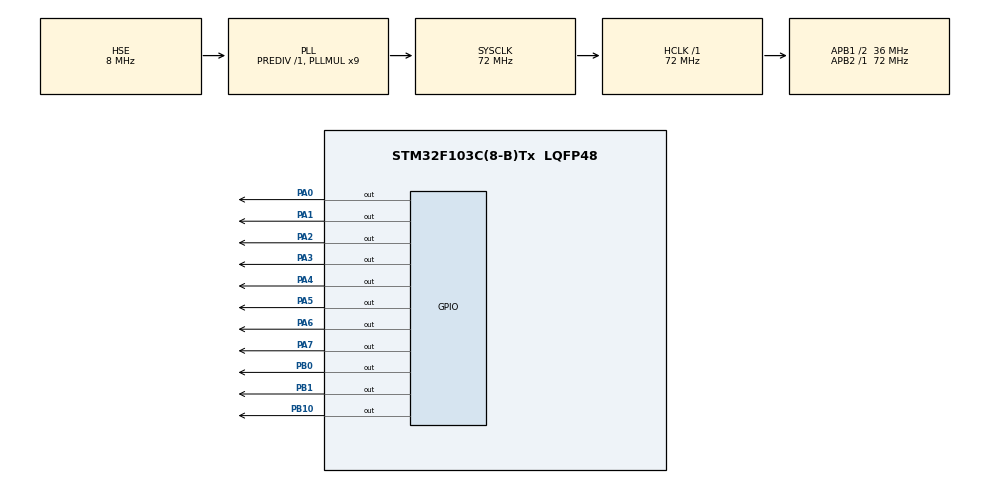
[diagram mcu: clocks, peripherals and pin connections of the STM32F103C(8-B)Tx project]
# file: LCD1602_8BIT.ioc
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Mcu.Family=STM32F1
Mcu.Name=STM32F103C(8-B)Tx
Mcu.Package=LQFP48
NVIC.PriorityGroup=NVIC_PRIORITYGROUP_4
PA0-WKUP.Signal=GPIO_Output
PA1.Signal=GPIO_Output
PA13.Mode=Serial_Wire
PA13.Signal=SYS_JTMS-SWDIO
PA14.Mode=Serial_Wire
PA14.Signal=SYS_JTCK-SWCLK
PA2.Signal=GPIO_Output
PA3.Signal=GPIO_Output
PA4.Signal=GPIO_Output
PA5.Signal=GPIO_Output
PA6.Signal=GPIO_Output
PA7.Signal=GPIO_Output
PB0.Signal=GPIO_Output
PB1.Signal=GPIO_Output
PB10.Signal=GPIO_Output
PD0-OSC_IN.Mode=HSE-External-Oscillator
PD0-OSC_IN.Signal=RCC_OSC_IN
PD1-OSC_OUT.Mode=HSE-External-Oscillator
PD1-OSC_OUT.Signal=RCC_OSC_OUT
ProjectManager.HeapSize=0x200
ProjectManager.StackSize=0x400
ProjectManager.TargetToolchain=MDK-ARM V5.32
RCC.AHBFreq_Value=72000000
RCC.APB1CLKDivider=RCC_HCLK_DIV2
RCC.APB1Freq_Value=36000000
RCC.APB1TimFreq_Value=72000000
RCC.APB2Freq_Value=72000000
RCC.APB2TimFreq_Value=72000000
RCC.HCLKFreq_Value=72000000
RCC.PLLMUL=RCC_PLL_MUL9
RCC.PLLSourceVirtual=RCC_PLLSOURCE_HSE
RCC.SYSCLKFreq_VALUE=72000000
RCC.SYSCLKSource=RCC_SYSCLKSOURCE_PLLCLK
RCC.USBFreq_Value=72000000
board=custom

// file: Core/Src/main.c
/* USER CODE BEGIN Header */
/**
  ******************************************************************************
  * @file           : main.c
  * @brief          : Main program body
  ******************************************************************************
  * @attention
  *
  * Copyright (c) 2026 STMicroelectronics.
  * All rights reserved.
  *
  * This software is licensed under terms that can be found in the LICENSE file
  * in the root directory of this software component.
  * If no LICENSE file comes with this software, it is provided AS-IS.
  *
  ******************************************************************************
  */
/* USER CODE END Header */
#include "main.h"

void SystemClock_Config(void);
static void MX_GPIO_Init(void);

/* USER CODE BEGIN 0 */
#define MDATA 0X00
#define MCMD 0x01

void LCD_Write_Byte(uint8_t mode, uint8_t data)
{
	if(mode == 0x00)
	{
		//data
		HAL_GPIO_WritePin(GPIOB, GPIO_PIN_0, 1); //RS = 1
	}
	else if(mode == 0x01)
	{
		//cmd
		HAL_GPIO_WritePin(GPIOB, GPIO_PIN_0, 0); // RS = 0
	}
	HAL_GPIO_WritePin(GPIOA, GPIO_PIN_0, (data & 0x01) ? 1 : 0);
	HAL_GPIO_WritePin(GPIOA, GPIO_PIN_1, (data & 0x02) ? 1 : 0);
	HAL_GPIO_WritePin(GPIOA, GPIO_PIN_2, (data & 0x04) ? 1 : 0);
	HAL_GPIO_WritePin(GPIOA, GPIO_PIN_3, (data & 0x08) ? 1 : 0);
	HAL_GPIO_WritePin(GPIOA, GPIO_PIN_4, (data & 0x10) ? 1 : 0);
	HAL_GPIO_WritePin(GPIOA, GPIO_PIN_5, (data & 0x20) ? 1 : 0);
	HAL_GPIO_WritePin(GPIOA, GPIO_PIN_6, (data & 0x40) ? 1 : 0);
	HAL_GPIO_WritePin(GPIOA, GPIO_PIN_7, (data & 0x80) ? 1 : 0);

	HAL_GPIO_WritePin(GPIOB, GPIO_PIN_10, 0);
	HAL_Delay(1);
	HAL_GPIO_WritePin(GPIOB, GPIO_PIN_10, 1);
	HAL_Delay(1);
	HAL_GPIO_WritePin(GPIOB, GPIO_PIN_10, 0);
	HAL_Delay(1);
}
void LCD_Write_Cmd(uint8_t data)
{
	LCD_Write_Byte(0x01, data);
}
void LCD_Write_Data(uint8_t data)
{
	LCD_Write_Byte(0x00, data);
}
void LCD_Write_String(char *str)
{
	while(*str)
	{
		LCD_Write_Data(*str++);
	}
}
void LCD_Init()
{

	HAL_Delay(50);
	LCD_Write_Cmd(0x38); // che do hien thi
	HAL_Delay(5);
	LCD_Write_Cmd(0x0C); //Xoa tro chuot
	HAL_Delay(5);
	LCD_Write_Cmd(0x01); // clear man hinh
	HAL_Delay(5);
	LCD_Write_Cmd(0x06);//che do viet chu
	HAL_Delay(5);

}
void LCD_SetCursor(uint8_t row, uint8_t col)
{
	uint8_t adr;

	if(row == 0)
	{
		adr = 0x80 +col;
		LCD_Write_Cmd(adr);// gui lenh di chuyen con tro

	}
	else if(row != 0)
	{
		adr = 0xC0 +col;
		LCD_Write_Cmd(adr); // gui lenh di chuyen con tro
	}

}

/* USER CODE END 0 */

int main(void)
{

  /* MCU Configuration--------------------------------------------------------*/

  /* Reset of all peripherals, Initializes the Flash interface and the Systick. */
  HAL_Init();

  /* Configure the system clock */
  SystemClock_Config();

  /* Initialize all configured peripherals */
  MX_GPIO_Init();
  /* USER CODE BEGIN 2 */
	HAL_GPIO_WritePin(GPIOB, GPIO_PIN_10, 0); //E = 0
	LCD_Init();

  /* USER CODE END 2 */

  /* Infinite loop */
  while (1)
  {

    /* USER CODE BEGIN 3 */
		LCD_SetCursor(0,0);
		LCD_Write_String("Xin Chao");
		LCD_SetCursor(1,0);
		LCD_Write_String("Toi la Nam");
		HAL_Delay(3000);
		LCD_Write_Cmd(0x01); // clear man hinh
		HAL_Delay(5);
		LCD_SetCursor(0,0);
		LCD_Write_String("Toi 19 tuoi");
		LCD_SetCursor(1,0);
		LCD_Write_String("Toi o Ha Noi");
		HAL_Delay(3000);
		LCD_Write_Cmd(0x01); // clear man hinh
		HAL_Delay(5);
		LCD_SetCursor(0,0);
		LCD_Write_String("Rat vui khi gap ban");
		LCD_SetCursor(1,0);
		LCD_Write_String("Hen gap lai sau");
		HAL_Delay(3000);
		LCD_Write_Cmd(0x01); // clear man hinh
		HAL_Delay(5);

  }
  /* USER CODE END 3 */
}

void SystemClock_Config(void)
{
  RCC_OscInitTypeDef RCC_OscInitStruct = {0};
  RCC_ClkInitTypeDef RCC_ClkInitStruct = {0};

  /** Initializes the RCC Oscillators according to the specified parameters
  * in the RCC_OscInitTypeDef structure.
  */
  RCC_OscInitStruct.OscillatorType = RCC_OSCILLATORTYPE_HSE;
  RCC_OscInitStruct.HSEState = RCC_HSE_ON;
  RCC_OscInitStruct.HSEPredivValue = RCC_HSE_PREDIV_DIV1;
  RCC_OscInitStruct.HSIState = RCC_HSI_ON;
  RCC_OscInitStruct.PLL.PLLState = RCC_PLL_ON;
  RCC_OscInitStruct.PLL.PLLSource = RCC_PLLSOURCE_HSE;
  RCC_OscInitStruct.PLL.PLLMUL = RCC_PLL_MUL9;
  if (HAL_RCC_OscConfig(&RCC_OscInitStruct) != HAL_OK)
  {
    Error_Handler();
  }

  /** Initializes the CPU, AHB and APB buses clocks
  */
  RCC_ClkInitStruct.ClockType = RCC_CLOCKTYPE_HCLK|RCC_CLOCKTYPE_SYSCLK
                              |RCC_CLOCKTYPE_PCLK1|RCC_CLOCKTYPE_PCLK2;
  RCC_ClkInitStruct.SYSCLKSource = RCC_SYSCLKSOURCE_PLLCLK;
  RCC_ClkInitStruct.AHBCLKDivider = RCC_SYSCLK_DIV1;
  RCC_ClkInitStruct.APB1CLKDivider = RCC_HCLK_DIV2;
  RCC_ClkInitStruct.APB2CLKDivider = RCC_HCLK_DIV1;

  if (HAL_RCC_ClockConfig(&RCC_ClkInitStruct, FLASH_LATENCY_2) != HAL_OK)
  {
    Error_Handler();
  }
}

static void MX_GPIO_Init(void)
{
  GPIO_InitTypeDef GPIO_InitStruct = {0};

  /* GPIO Ports Clock Enable */
  __HAL_RCC_GPIOD_CLK_ENABLE();
  __HAL_RCC_GPIOA_CLK_ENABLE();
  __HAL_RCC_GPIOB_CLK_ENABLE();

  /*Configure GPIO pin Output Level */
  HAL_GPIO_WritePin(GPIOA, GPIO_PIN_0|GPIO_PIN_1|GPIO_PIN_2|GPIO_PIN_3
                          |GPIO_PIN_4|GPIO_PIN_5|GPIO_PIN_6|GPIO_PIN_7, GPIO_PIN_RESET);

  /*Configure GPIO pin Output Level */
  HAL_GPIO_WritePin(GPIOB, GPIO_PIN_0|GPIO_PIN_1|GPIO_PIN_10, GPIO_PIN_RESET);

  /*Configure GPIO pins : PA0 PA1 PA2 PA3
                           PA4 PA5 PA6 PA7 */
  GPIO_InitStruct.Pin = GPIO_PIN_0|GPIO_PIN_1|GPIO_PIN_2|GPIO_PIN_3
                          |GPIO_PIN_4|GPIO_PIN_5|GPIO_PIN_6|GPIO_PIN_7;
  GPIO_InitStruct.Mode = GPIO_MODE_OUTPUT_PP;
  GPIO_InitStruct.Pull = GPIO_NOPULL;
  GPIO_InitStruct.Speed = GPIO_SPEED_FREQ_LOW;
  HAL_GPIO_Init(GPIOA, &GPIO_InitStruct);

  /*Configure GPIO pins : PB0 PB1 PB10 */
  GPIO_InitStruct.Pin = GPIO_PIN_0|GPIO_PIN_1|GPIO_PIN_10;
  GPIO_InitStruct.Mode = GPIO_MODE_OUTPUT_PP;
  GPIO_InitStruct.Pull = GPIO_NOPULL;
  GPIO_InitStruct.Speed = GPIO_SPEED_FREQ_LOW;
  HAL_GPIO_Init(GPIOB, &GPIO_InitStruct);

}

void Error_Handler(void)
{
  __disable_irq();
  while (1)
  {
  }
}
